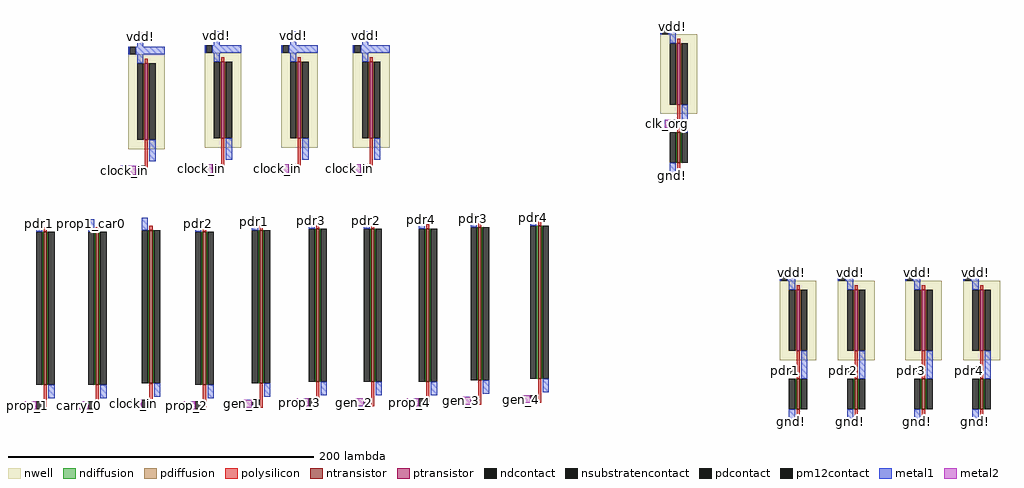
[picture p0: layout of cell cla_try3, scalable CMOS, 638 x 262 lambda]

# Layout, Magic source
magic
tech scmos
<< nwell >>
rect -263 -624 -239 -562
rect -213 -623 -189 -561
rect -163 -623 -139 -561
rect -116 -623 -92 -561
rect 85 -601 109 -549
rect 163 -762 187 -710
rect 201 -762 225 -710
rect 245 -762 269 -710
rect 283 -762 307 -710
<< ntransistor >>
rect 96 -633 98 -613
rect -318 -778 -316 -678
rect -284 -778 -282 -678
rect -249 -777 -247 -677
rect -214 -778 -212 -678
rect -177 -777 -175 -677
rect -140 -776 -138 -676
rect -104 -776 -102 -676
rect -68 -776 -66 -676
rect -34 -775 -32 -675
rect 5 -774 7 -674
rect 174 -794 176 -774
rect 212 -794 214 -774
rect 256 -794 258 -774
rect 294 -794 296 -774
<< ptransistor >>
rect -252 -618 -250 -568
rect -202 -617 -200 -567
rect -152 -617 -150 -567
rect -105 -617 -103 -567
rect 96 -595 98 -555
rect 174 -756 176 -716
rect 212 -756 214 -716
rect 256 -756 258 -716
rect 294 -756 296 -716
<< ndiffusion >>
rect 95 -633 96 -613
rect 98 -633 99 -613
rect -319 -778 -318 -678
rect -316 -778 -315 -678
rect -285 -778 -284 -678
rect -282 -778 -281 -678
rect -250 -777 -249 -677
rect -247 -777 -246 -677
rect -215 -778 -214 -678
rect -212 -778 -211 -678
rect -178 -777 -177 -677
rect -175 -777 -174 -677
rect -141 -776 -140 -676
rect -138 -776 -137 -676
rect -105 -776 -104 -676
rect -102 -776 -101 -676
rect -69 -776 -68 -676
rect -66 -776 -65 -676
rect -35 -775 -34 -675
rect -32 -775 -31 -675
rect 4 -774 5 -674
rect 7 -774 8 -674
rect 173 -794 174 -774
rect 176 -794 177 -774
rect 211 -794 212 -774
rect 214 -794 215 -774
rect 255 -794 256 -774
rect 258 -794 259 -774
rect 293 -794 294 -774
rect 296 -794 297 -774
<< pdiffusion >>
rect -253 -618 -252 -568
rect -250 -618 -249 -568
rect -203 -617 -202 -567
rect -200 -617 -199 -567
rect -153 -617 -152 -567
rect -150 -617 -149 -567
rect -106 -617 -105 -567
rect -103 -617 -102 -567
rect 95 -595 96 -555
rect 98 -595 99 -555
rect 173 -756 174 -716
rect 176 -756 177 -716
rect 211 -756 212 -716
rect 214 -756 215 -716
rect 255 -756 256 -716
rect 258 -756 259 -716
rect 293 -756 294 -716
rect 296 -756 297 -716
<< ndcontact >>
rect 91 -633 95 -613
rect 99 -633 103 -613
rect -323 -778 -319 -678
rect -315 -778 -311 -678
rect -289 -778 -285 -678
rect -281 -778 -277 -678
rect -254 -777 -250 -677
rect -246 -777 -242 -677
rect -219 -778 -215 -678
rect -211 -778 -207 -678
rect -182 -777 -178 -677
rect -174 -777 -170 -677
rect -145 -776 -141 -676
rect -137 -776 -133 -676
rect -109 -776 -105 -676
rect -101 -776 -97 -676
rect -73 -776 -69 -676
rect -65 -776 -61 -676
rect -39 -775 -35 -675
rect -31 -775 -27 -675
rect 0 -774 4 -674
rect 8 -774 12 -674
rect 169 -794 173 -774
rect 177 -794 181 -774
rect 207 -794 211 -774
rect 215 -794 219 -774
rect 251 -794 255 -774
rect 259 -794 263 -774
rect 289 -794 293 -774
rect 297 -794 301 -774
<< pdcontact >>
rect -257 -618 -253 -568
rect -249 -618 -245 -568
rect -207 -617 -203 -567
rect -199 -617 -195 -567
rect -157 -617 -153 -567
rect -149 -617 -145 -567
rect -110 -617 -106 -567
rect -102 -617 -98 -567
rect 91 -595 95 -555
rect 99 -595 103 -555
rect 169 -756 173 -716
rect 177 -756 181 -716
rect 207 -756 211 -716
rect 215 -756 219 -716
rect 251 -756 255 -716
rect 259 -756 263 -716
rect 289 -756 293 -716
rect 297 -756 301 -716
<< nsubstratencontact >>
rect 86 -549 90 -545
rect -262 -562 -258 -557
rect -212 -561 -208 -556
rect -162 -561 -158 -556
rect -115 -561 -111 -556
rect 164 -710 168 -706
rect 202 -710 206 -706
rect 246 -710 250 -706
rect 284 -710 288 -706
<< polysilicon >>
rect 96 -555 98 -552
rect -252 -568 -250 -565
rect -202 -567 -200 -564
rect -152 -567 -150 -564
rect -105 -567 -103 -564
rect 96 -613 98 -595
rect -252 -641 -250 -618
rect -202 -640 -200 -617
rect -152 -640 -150 -617
rect -105 -640 -103 -617
rect 96 -637 98 -633
rect -318 -678 -316 -675
rect -284 -678 -282 -675
rect -249 -677 -247 -674
rect -214 -678 -212 -675
rect -177 -677 -175 -674
rect -140 -676 -138 -673
rect -104 -676 -102 -673
rect -68 -676 -66 -673
rect -34 -675 -32 -672
rect 5 -674 7 -671
rect -318 -794 -316 -778
rect -284 -794 -282 -778
rect -249 -793 -247 -777
rect 174 -716 176 -713
rect 212 -716 214 -713
rect 256 -716 258 -713
rect 294 -716 296 -713
rect 174 -774 176 -756
rect 212 -774 214 -756
rect 256 -774 258 -756
rect 294 -774 296 -756
rect -214 -794 -212 -778
rect -177 -793 -175 -777
rect -140 -792 -138 -776
rect -104 -792 -102 -776
rect -68 -792 -66 -776
rect -34 -791 -32 -775
rect 5 -790 7 -774
rect 174 -798 176 -794
rect 212 -798 214 -794
rect 256 -798 258 -794
rect 294 -798 296 -794
<< metal1 >>
rect 91 -545 95 -542
rect -257 -557 -253 -548
rect -207 -556 -203 -547
rect -157 -556 -153 -547
rect -110 -556 -106 -547
rect 85 -549 86 -545
rect 90 -549 95 -545
rect 91 -555 95 -549
rect -263 -562 -262 -557
rect -258 -562 -239 -557
rect -213 -561 -212 -556
rect -208 -561 -189 -556
rect -163 -561 -162 -556
rect -158 -561 -139 -556
rect -116 -561 -115 -556
rect -111 -561 -92 -556
rect -257 -568 -253 -562
rect -207 -567 -203 -561
rect -157 -567 -153 -561
rect -110 -567 -106 -561
rect 99 -613 103 -595
rect -249 -632 -245 -618
rect -199 -631 -195 -617
rect -149 -631 -145 -617
rect -102 -631 -98 -617
rect 91 -643 95 -633
rect -323 -678 -319 -670
rect -289 -678 -285 -670
rect -254 -677 -250 -669
rect -315 -787 -311 -778
rect -281 -787 -277 -778
rect -246 -786 -242 -777
rect -219 -678 -215 -670
rect -182 -677 -178 -669
rect -145 -676 -141 -668
rect -109 -676 -105 -668
rect -73 -676 -69 -668
rect -39 -675 -35 -667
rect 0 -674 4 -666
rect 169 -706 173 -703
rect 207 -706 211 -703
rect 251 -706 255 -703
rect 289 -706 293 -703
rect 163 -710 164 -706
rect 168 -710 173 -706
rect 201 -710 202 -706
rect 206 -710 211 -706
rect 245 -710 246 -706
rect 250 -710 255 -706
rect 283 -710 284 -706
rect 288 -710 293 -706
rect 169 -716 173 -710
rect 207 -716 211 -710
rect 251 -716 255 -710
rect 289 -716 293 -710
rect 177 -774 181 -756
rect 215 -774 219 -756
rect 259 -774 263 -756
rect 297 -774 301 -756
rect -211 -787 -207 -778
rect -174 -786 -170 -777
rect -137 -785 -133 -776
rect -101 -785 -97 -776
rect -65 -785 -61 -776
rect -31 -784 -27 -775
rect 8 -783 12 -774
rect 169 -804 173 -794
rect 207 -804 211 -794
rect 251 -804 255 -794
rect 289 -804 293 -794
<< pm12contact >>
rect 91 -610 96 -605
rect -258 -641 -252 -635
rect -208 -640 -202 -634
rect -158 -640 -152 -634
rect -111 -640 -105 -634
rect 169 -771 174 -766
rect 207 -771 212 -766
rect 251 -771 256 -766
rect 289 -771 294 -766
rect -323 -794 -318 -789
rect -289 -794 -284 -789
rect -254 -793 -249 -788
rect -219 -794 -214 -789
rect -182 -793 -177 -788
rect -145 -792 -140 -787
rect -109 -792 -104 -787
rect -73 -792 -68 -787
rect -39 -791 -34 -786
rect 0 -790 5 -785
<< metal2 >>
rect 88 -610 91 -605
rect -268 -641 -258 -635
rect -218 -640 -208 -634
rect -168 -640 -158 -634
rect -121 -640 -111 -634
rect 166 -771 169 -766
rect 204 -771 207 -766
rect 248 -771 251 -766
rect 286 -771 289 -766
rect -331 -794 -323 -789
rect -297 -794 -289 -789
rect -262 -793 -254 -788
rect -227 -794 -219 -789
rect -190 -793 -182 -788
rect -153 -792 -145 -787
rect -117 -792 -109 -787
rect -81 -792 -73 -787
rect -47 -791 -39 -786
rect -8 -790 0 -785
<< labels >>
rlabel metal1 -257 -553 -253 -548 5 vdd!
rlabel metal1 -207 -552 -203 -547 5 vdd!
rlabel metal1 -157 -552 -153 -547 5 vdd!
rlabel metal1 -110 -552 -106 -547 5 vdd!
rlabel metal2 -268 -641 -262 -635 2 clock_in
rlabel metal2 -218 -640 -212 -634 1 clock_in
rlabel metal2 -168 -640 -162 -634 1 clock_in
rlabel metal2 -121 -640 -116 -634 1 clock_in
rlabel metal1 -249 -632 -245 -627 1 pdr1
rlabel metal1 -199 -631 -195 -627 1 pdr2
rlabel metal1 -149 -631 -145 -627 1 pdr3
rlabel metal1 -102 -631 -98 -627 1 pdr4
rlabel metal1 -323 -675 -319 -670 1 pdr1
rlabel metal2 -331 -794 -326 -789 2 prop_1
rlabel metal1 -315 -787 -311 -782 1 prop1_car0
rlabel metal1 -289 -675 -285 -670 1 prop1_car0
rlabel metal2 -297 -794 -293 -789 1 carry_0
rlabel metal1 -281 -787 -277 -782 1 clock_car0
rlabel metal1 -254 -673 -250 -669 1 clock_car0
rlabel metal2 -262 -793 -257 -788 1 clock_in
rlabel metal1 -246 -786 -242 -782 1 gnd!
rlabel metal1 -219 -675 -215 -670 1 pdr2
rlabel metal2 -227 -794 -222 -789 1 prop_2
rlabel metal1 -211 -787 -207 -782 1 pdr1
rlabel metal1 -182 -674 -178 -669 1 pdr1
rlabel metal2 -190 -793 -186 -788 1 gen_1
rlabel metal1 -174 -786 -170 -782 1 clock_car0
rlabel metal1 -145 -673 -141 -668 1 pdr3
rlabel metal2 -153 -792 -149 -787 1 prop_3
rlabel metal1 -137 -785 -133 -781 1 pdr2
rlabel metal1 -109 -673 -105 -668 1 pdr2
rlabel metal2 -117 -792 -113 -787 1 gen_2
rlabel metal1 -101 -785 -97 -780 1 clock_car0
rlabel metal1 -73 -672 -69 -668 1 pdr4
rlabel metal2 -81 -792 -77 -787 1 prop_4
rlabel metal1 -65 -785 -61 -781 1 pdr3
rlabel metal1 -39 -672 -35 -667 1 pdr3
rlabel metal2 -47 -791 -43 -786 1 gen_3
rlabel metal1 -31 -784 -27 -780 1 clock_car0
rlabel metal1 0 -671 4 -666 1 pdr4
rlabel metal2 -8 -790 -4 -785 1 gen_4
rlabel metal1 8 -783 12 -778 7 clock_car0
rlabel metal1 169 -707 173 -703 1 vdd!
rlabel metal1 207 -707 211 -703 1 vdd!
rlabel metal1 251 -706 255 -703 1 vdd!
rlabel metal1 289 -706 293 -703 1 vdd!
rlabel metal1 169 -804 173 -800 1 gnd!
rlabel metal1 207 -804 211 -800 1 gnd!
rlabel metal1 251 -804 255 -800 1 gnd!
rlabel metal1 289 -804 293 -800 1 gnd!
rlabel metal2 166 -771 168 -766 1 pdr1
rlabel metal2 204 -771 206 -766 1 pdr2
rlabel metal2 248 -771 250 -766 1 pdr3
rlabel metal2 286 -771 288 -766 1 pdr4
rlabel metal1 178 -771 181 -767 1 c1
rlabel metal1 216 -771 219 -766 1 c2
rlabel metal1 260 -771 263 -766 1 c3
rlabel metal1 298 -771 301 -766 1 c4
rlabel metal1 91 -546 95 -542 1 vdd!
rlabel metal1 91 -643 95 -639 1 gnd!
rlabel metal2 88 -610 91 -605 1 clk_org
rlabel metal1 100 -610 103 -606 1 clock_in
<< end >>
